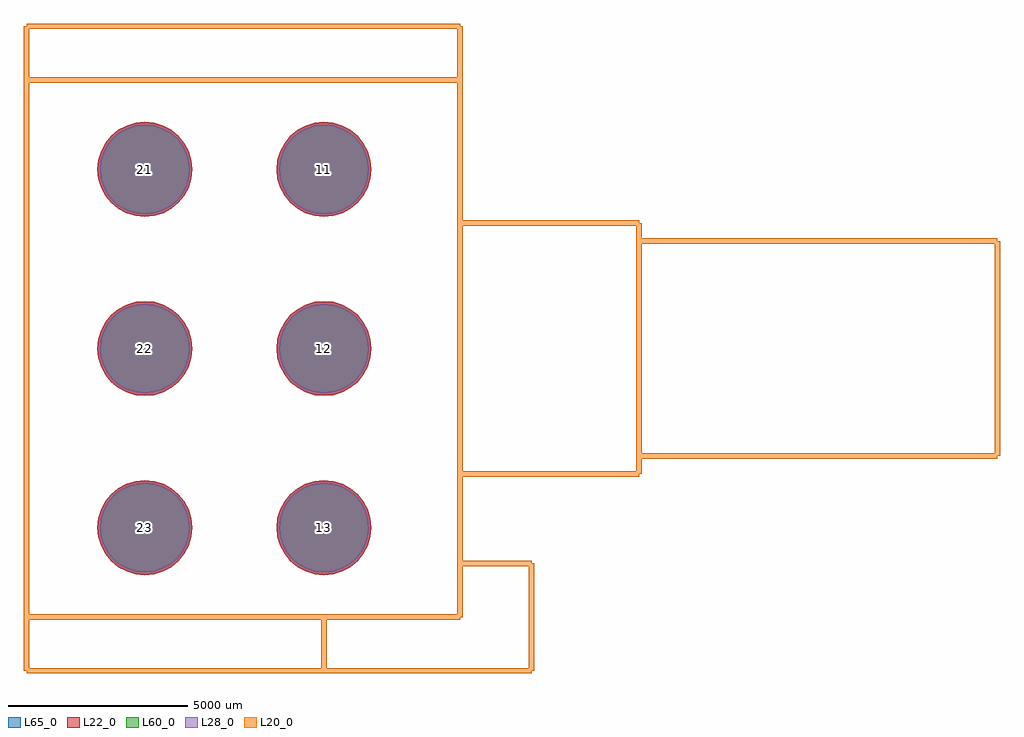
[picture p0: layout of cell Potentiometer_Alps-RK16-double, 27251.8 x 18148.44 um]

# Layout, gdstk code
import gdstk
lib = gdstk.Library(unit=1e-6, precision=1e-09)
def P(c, l, *ps):  # polygons
    for p in ps: c.add(gdstk.Polygon(p, *l))
L20_0 = (20, 0)
L22_0 = (22, 0)
L28_0 = (28, 0)
L60_0 = (60, 0)
L65_0 = (65, 0)

potentiometer_alps_rk16_ = lib.new_cell('Potentiometer_Alps-RK16-double')
P(potentiometer_alps_rk16_, L22_0, [(1324.68,0),(1299.227,258.432),(1223.845,506.933),(1101.431,735.953),(936.69,936.69),(735.953,1101.431),(506.933,1223.845),(258.432,1299.227),(0,1324.68),(-258.432,1299.227),(-506.933,1223.845),(-735.953,1101.431),(-936.69,936.69),(-1101.431,735.953),(-1223.845,506.933),(-1299.227,258.432),(-1324.68,0),(-1299.227,-258.432),(-1223.845,-506.933),(-1101.431,-735.953),(-936.69,-936.69),(-735.953,-1101.431),(-506.933,-1223.845),(-258.432,-1299.227),(0,-1324.68),(258.432,-1299.227),(506.933,-1223.845),(735.953,-1101.431),(936.69,-936.69),(1101.431,-735.953),(1223.845,-506.933),(1299.227,-258.432)],
  [(1324.68,-10002.52),(1299.227,-9744.088),(1223.845,-9495.587),(1101.431,-9266.567),(936.69,-9065.83),(735.953,-8901.089),(506.933,-8778.675),(258.432,-8703.293),(0,-8677.84),(-258.432,-8703.293),(-506.933,-8778.675),(-735.953,-8901.089),(-936.69,-9065.83),(-1101.431,-9266.567),(-1223.845,-9495.587),(-1299.227,-9744.088),(-1324.68,-10002.52),(-1299.227,-10260.952),(-1223.845,-10509.453),(-1101.431,-10738.473),(-936.69,-10939.21),(-735.953,-11103.951),(-506.933,-11226.365),(-258.432,-11301.747),(0,-11327.2),(258.432,-11301.747),(506.933,-11226.365),(735.953,-11103.951),(936.69,-10939.21),(1101.431,-10738.473),(1223.845,-10509.453),(1299.227,-10260.952)],
  [(1324.68,-5001.26),(1299.227,-4742.828),(1223.845,-4494.327),(1101.431,-4265.307),(936.69,-4064.57),(735.953,-3899.829),(506.933,-3777.415),(258.432,-3702.033),(0,-3676.58),(-258.432,-3702.033),(-506.933,-3777.415),(-735.953,-3899.829),(-936.69,-4064.57),(-1101.431,-4265.307),(-1223.845,-4494.327),(-1299.227,-4742.828),(-1324.68,-5001.26),(-1299.227,-5259.692),(-1223.845,-5508.193),(-1101.431,-5737.213),(-936.69,-5937.95),(-735.953,-6102.691),(-506.933,-6225.105),(-258.432,-6300.487),(0,-6325.94),(258.432,-6300.487),(506.933,-6225.105),(735.953,-6102.691),(936.69,-5937.95),(1101.431,-5737.213),(1223.845,-5508.193),(1299.227,-5259.692)],
  [(-3676.58,0),(-3702.033,258.432),(-3777.415,506.933),(-3899.829,735.953),(-4064.57,936.69),(-4265.307,1101.431),(-4494.327,1223.845),(-4742.828,1299.227),(-5001.26,1324.68),(-5259.692,1299.227),(-5508.193,1223.845),(-5737.213,1101.431),(-5937.95,936.69),(-6102.691,735.953),(-6225.105,506.933),(-6300.487,258.432),(-6325.94,0),(-6300.487,-258.432),(-6225.105,-506.933),(-6102.691,-735.953),(-5937.95,-936.69),(-5737.213,-1101.431),(-5508.193,-1223.845),(-5259.692,-1299.227),(-5001.26,-1324.68),(-4742.828,-1299.227),(-4494.327,-1223.845),(-4265.307,-1101.431),(-4064.57,-936.69),(-3899.829,-735.953),(-3777.415,-506.933),(-3702.033,-258.432)],
  [(-3676.58,-5001.26),(-3702.033,-4742.828),(-3777.415,-4494.327),(-3899.829,-4265.307),(-4064.57,-4064.57),(-4265.307,-3899.829),(-4494.327,-3777.415),(-4742.828,-3702.033),(-5001.26,-3676.58),(-5259.692,-3702.033),(-5508.193,-3777.415),(-5737.213,-3899.829),(-5937.95,-4064.57),(-6102.691,-4265.307),(-6225.105,-4494.327),(-6300.487,-4742.828),(-6325.94,-5001.26),(-6300.487,-5259.692),(-6225.105,-5508.193),(-6102.691,-5737.213),(-5937.95,-5937.95),(-5737.213,-6102.691),(-5508.193,-6225.105),(-5259.692,-6300.487),(-5001.26,-6325.94),(-4742.828,-6300.487),(-4494.327,-6225.105),(-4265.307,-6102.691),(-4064.57,-5937.95),(-3899.829,-5737.213),(-3777.415,-5508.193),(-3702.033,-5259.692)],
  [(-3676.58,-10002.52),(-3702.033,-9744.088),(-3777.415,-9495.587),(-3899.829,-9266.567),(-4064.57,-9065.83),(-4265.307,-8901.089),(-4494.327,-8778.675),(-4742.828,-8703.293),(-5001.26,-8677.84),(-5259.692,-8703.293),(-5508.193,-8778.675),(-5737.213,-8901.089),(-5937.95,-9065.83),(-6102.691,-9266.567),(-6225.105,-9495.587),(-6300.487,-9744.088),(-6325.94,-10002.52),(-6300.487,-10260.952),(-6225.105,-10509.453),(-6102.691,-10738.473),(-5937.95,-10939.21),(-5737.213,-11103.951),(-5508.193,-11226.365),(-5259.692,-11301.747),(-5001.26,-11327.2),(-4742.828,-11301.747),(-4494.327,-11226.365),(-4265.307,-11103.951),(-4064.57,-10939.21),(-3899.829,-10738.473),(-3777.415,-10509.453),(-3702.033,-10260.952)])
P(potentiometer_alps_rk16_, L28_0, [(1249.68,0),(1225.668,243.8),(1154.554,478.232),(1039.071,694.285),(883.657,883.657),(694.285,1039.071),(478.232,1154.554),(243.8,1225.668),(0,1249.68),(-243.8,1225.668),(-478.232,1154.554),(-694.285,1039.071),(-883.657,883.657),(-1039.071,694.285),(-1154.554,478.232),(-1225.668,243.8),(-1249.68,0),(-1225.668,-243.8),(-1154.554,-478.232),(-1039.071,-694.285),(-883.657,-883.657),(-694.285,-1039.071),(-478.232,-1154.554),(-243.8,-1225.668),(0,-1249.68),(243.8,-1225.668),(478.232,-1154.554),(694.285,-1039.071),(883.657,-883.657),(1039.071,-694.285),(1154.554,-478.232),(1225.668,-243.8)],
  [(1249.68,-10002.52),(1225.668,-9758.72),(1154.554,-9524.288),(1039.071,-9308.235),(883.657,-9118.863),(694.285,-8963.449),(478.232,-8847.966),(243.8,-8776.852),(0,-8752.84),(-243.8,-8776.852),(-478.232,-8847.966),(-694.285,-8963.449),(-883.657,-9118.863),(-1039.071,-9308.235),(-1154.554,-9524.288),(-1225.668,-9758.72),(-1249.68,-10002.52),(-1225.668,-10246.32),(-1154.554,-10480.752),(-1039.071,-10696.805),(-883.657,-10886.177),(-694.285,-11041.591),(-478.232,-11157.074),(-243.8,-11228.188),(0,-11252.2),(243.8,-11228.188),(478.232,-11157.074),(694.285,-11041.591),(883.657,-10886.177),(1039.071,-10696.805),(1154.554,-10480.752),(1225.668,-10246.32)],
  [(1249.68,-5001.26),(1225.668,-4757.46),(1154.554,-4523.028),(1039.071,-4306.975),(883.657,-4117.603),(694.285,-3962.189),(478.232,-3846.706),(243.8,-3775.592),(0,-3751.58),(-243.8,-3775.592),(-478.232,-3846.706),(-694.285,-3962.189),(-883.657,-4117.603),(-1039.071,-4306.975),(-1154.554,-4523.028),(-1225.668,-4757.46),(-1249.68,-5001.26),(-1225.668,-5245.06),(-1154.554,-5479.492),(-1039.071,-5695.545),(-883.657,-5884.917),(-694.285,-6040.331),(-478.232,-6155.814),(-243.8,-6226.928),(0,-6250.94),(243.8,-6226.928),(478.232,-6155.814),(694.285,-6040.331),(883.657,-5884.917),(1039.071,-5695.545),(1154.554,-5479.492),(1225.668,-5245.06)],
  [(-3751.58,0),(-3775.592,243.8),(-3846.706,478.232),(-3962.189,694.285),(-4117.603,883.657),(-4306.975,1039.071),(-4523.028,1154.554),(-4757.46,1225.668),(-5001.26,1249.68),(-5245.06,1225.668),(-5479.492,1154.554),(-5695.545,1039.071),(-5884.917,883.657),(-6040.331,694.285),(-6155.814,478.232),(-6226.928,243.8),(-6250.94,0),(-6226.928,-243.8),(-6155.814,-478.232),(-6040.331,-694.285),(-5884.917,-883.657),(-5695.545,-1039.071),(-5479.492,-1154.554),(-5245.06,-1225.668),(-5001.26,-1249.68),(-4757.46,-1225.668),(-4523.028,-1154.554),(-4306.975,-1039.071),(-4117.603,-883.657),(-3962.189,-694.285),(-3846.706,-478.232),(-3775.592,-243.8)],
  [(-3751.58,-5001.26),(-3775.592,-4757.46),(-3846.706,-4523.028),(-3962.189,-4306.975),(-4117.603,-4117.603),(-4306.975,-3962.189),(-4523.028,-3846.706),(-4757.46,-3775.592),(-5001.26,-3751.58),(-5245.06,-3775.592),(-5479.492,-3846.706),(-5695.545,-3962.189),(-5884.917,-4117.603),(-6040.331,-4306.975),(-6155.814,-4523.028),(-6226.928,-4757.46),(-6250.94,-5001.26),(-6226.928,-5245.06),(-6155.814,-5479.492),(-6040.331,-5695.545),(-5884.917,-5884.917),(-5695.545,-6040.331),(-5479.492,-6155.814),(-5245.06,-6226.928),(-5001.26,-6250.94),(-4757.46,-6226.928),(-4523.028,-6155.814),(-4306.975,-6040.331),(-4117.603,-5884.917),(-3962.189,-5695.545),(-3846.706,-5479.492),(-3775.592,-5245.06)],
  [(-3751.58,-10002.52),(-3775.592,-9758.72),(-3846.706,-9524.288),(-3962.189,-9308.235),(-4117.603,-9118.863),(-4306.975,-8963.449),(-4523.028,-8847.966),(-4757.46,-8776.852),(-5001.26,-8752.84),(-5245.06,-8776.852),(-5479.492,-8847.966),(-5695.545,-8963.449),(-5884.917,-9118.863),(-6040.331,-9308.235),(-6155.814,-9524.288),(-6226.928,-9758.72),(-6250.94,-10002.52),(-6226.928,-10246.32),(-6155.814,-10480.752),(-6040.331,-10696.805),(-5884.917,-10886.177),(-5695.545,-11041.591),(-5479.492,-11157.074),(-5245.06,-11228.188),(-5001.26,-11252.2),(-4757.46,-11228.188),(-4523.028,-11157.074),(-4306.975,-11041.591),(-4117.603,-10886.177),(-3962.189,-10696.805),(-3846.706,-10480.752),(-3775.592,-10246.32)])
P(potentiometer_alps_rk16_, L60_0, [(1249.68,0),(1225.668,243.8),(1154.554,478.232),(1039.071,694.285),(883.657,883.657),(694.285,1039.071),(478.232,1154.554),(243.8,1225.668),(0,1249.68),(-243.8,1225.668),(-478.232,1154.554),(-694.285,1039.071),(-883.657,883.657),(-1039.071,694.285),(-1154.554,478.232),(-1225.668,243.8),(-1249.68,0),(-1225.668,-243.8),(-1154.554,-478.232),(-1039.071,-694.285),(-883.657,-883.657),(-694.285,-1039.071),(-478.232,-1154.554),(-243.8,-1225.668),(0,-1249.68),(243.8,-1225.668),(478.232,-1154.554),(694.285,-1039.071),(883.657,-883.657),(1039.071,-694.285),(1154.554,-478.232),(1225.668,-243.8)],
  [(1249.68,-10002.52),(1225.668,-9758.72),(1154.554,-9524.288),(1039.071,-9308.235),(883.657,-9118.863),(694.285,-8963.449),(478.232,-8847.966),(243.8,-8776.852),(0,-8752.84),(-243.8,-8776.852),(-478.232,-8847.966),(-694.285,-8963.449),(-883.657,-9118.863),(-1039.071,-9308.235),(-1154.554,-9524.288),(-1225.668,-9758.72),(-1249.68,-10002.52),(-1225.668,-10246.32),(-1154.554,-10480.752),(-1039.071,-10696.805),(-883.657,-10886.177),(-694.285,-11041.591),(-478.232,-11157.074),(-243.8,-11228.188),(0,-11252.2),(243.8,-11228.188),(478.232,-11157.074),(694.285,-11041.591),(883.657,-10886.177),(1039.071,-10696.805),(1154.554,-10480.752),(1225.668,-10246.32)],
  [(1249.68,-5001.26),(1225.668,-4757.46),(1154.554,-4523.028),(1039.071,-4306.975),(883.657,-4117.603),(694.285,-3962.189),(478.232,-3846.706),(243.8,-3775.592),(0,-3751.58),(-243.8,-3775.592),(-478.232,-3846.706),(-694.285,-3962.189),(-883.657,-4117.603),(-1039.071,-4306.975),(-1154.554,-4523.028),(-1225.668,-4757.46),(-1249.68,-5001.26),(-1225.668,-5245.06),(-1154.554,-5479.492),(-1039.071,-5695.545),(-883.657,-5884.917),(-694.285,-6040.331),(-478.232,-6155.814),(-243.8,-6226.928),(0,-6250.94),(243.8,-6226.928),(478.232,-6155.814),(694.285,-6040.331),(883.657,-5884.917),(1039.071,-5695.545),(1154.554,-5479.492),(1225.668,-5245.06)],
  [(-3751.58,0),(-3775.592,243.8),(-3846.706,478.232),(-3962.189,694.285),(-4117.603,883.657),(-4306.975,1039.071),(-4523.028,1154.554),(-4757.46,1225.668),(-5001.26,1249.68),(-5245.06,1225.668),(-5479.492,1154.554),(-5695.545,1039.071),(-5884.917,883.657),(-6040.331,694.285),(-6155.814,478.232),(-6226.928,243.8),(-6250.94,0),(-6226.928,-243.8),(-6155.814,-478.232),(-6040.331,-694.285),(-5884.917,-883.657),(-5695.545,-1039.071),(-5479.492,-1154.554),(-5245.06,-1225.668),(-5001.26,-1249.68),(-4757.46,-1225.668),(-4523.028,-1154.554),(-4306.975,-1039.071),(-4117.603,-883.657),(-3962.189,-694.285),(-3846.706,-478.232),(-3775.592,-243.8)],
  [(-3751.58,-5001.26),(-3775.592,-4757.46),(-3846.706,-4523.028),(-3962.189,-4306.975),(-4117.603,-4117.603),(-4306.975,-3962.189),(-4523.028,-3846.706),(-4757.46,-3775.592),(-5001.26,-3751.58),(-5245.06,-3775.592),(-5479.492,-3846.706),(-5695.545,-3962.189),(-5884.917,-4117.603),(-6040.331,-4306.975),(-6155.814,-4523.028),(-6226.928,-4757.46),(-6250.94,-5001.26),(-6226.928,-5245.06),(-6155.814,-5479.492),(-6040.331,-5695.545),(-5884.917,-5884.917),(-5695.545,-6040.331),(-5479.492,-6155.814),(-5245.06,-6226.928),(-5001.26,-6250.94),(-4757.46,-6226.928),(-4523.028,-6155.814),(-4306.975,-6040.331),(-4117.603,-5884.917),(-3962.189,-5695.545),(-3846.706,-5479.492),(-3775.592,-5245.06)],
  [(-3751.58,-10002.52),(-3775.592,-9758.72),(-3846.706,-9524.288),(-3962.189,-9308.235),(-4117.603,-9118.863),(-4306.975,-8963.449),(-4523.028,-8847.966),(-4757.46,-8776.852),(-5001.26,-8752.84),(-5245.06,-8776.852),(-5479.492,-8847.966),(-5695.545,-8963.449),(-5884.917,-9118.863),(-6040.331,-9308.235),(-6155.814,-9524.288),(-6226.928,-9758.72),(-6250.94,-10002.52),(-6226.928,-10246.32),(-6155.814,-10480.752),(-6040.331,-10696.805),(-5884.917,-10886.177),(-5695.545,-11041.591),(-5479.492,-11157.074),(-5245.06,-11228.188),(-5001.26,-11252.2),(-4757.46,-11228.188),(-4523.028,-11157.074),(-4306.975,-11041.591),(-4117.603,-10886.177),(-3962.189,-10696.805),(-3846.706,-10480.752),(-3775.592,-10246.32)])
P(potentiometer_alps_rk16_, L65_0, [(1324.68,0),(1299.227,258.432),(1223.845,506.933),(1101.431,735.953),(936.69,936.69),(735.953,1101.431),(506.933,1223.845),(258.432,1299.227),(0,1324.68),(-258.432,1299.227),(-506.933,1223.845),(-735.953,1101.431),(-936.69,936.69),(-1101.431,735.953),(-1223.845,506.933),(-1299.227,258.432),(-1324.68,0),(-1299.227,-258.432),(-1223.845,-506.933),(-1101.431,-735.953),(-936.69,-936.69),(-735.953,-1101.431),(-506.933,-1223.845),(-258.432,-1299.227),(0,-1324.68),(258.432,-1299.227),(506.933,-1223.845),(735.953,-1101.431),(936.69,-936.69),(1101.431,-735.953),(1223.845,-506.933),(1299.227,-258.432)],
  [(1324.68,-10002.52),(1299.227,-9744.088),(1223.845,-9495.587),(1101.431,-9266.567),(936.69,-9065.83),(735.953,-8901.089),(506.933,-8778.675),(258.432,-8703.293),(0,-8677.84),(-258.432,-8703.293),(-506.933,-8778.675),(-735.953,-8901.089),(-936.69,-9065.83),(-1101.431,-9266.567),(-1223.845,-9495.587),(-1299.227,-9744.088),(-1324.68,-10002.52),(-1299.227,-10260.952),(-1223.845,-10509.453),(-1101.431,-10738.473),(-936.69,-10939.21),(-735.953,-11103.951),(-506.933,-11226.365),(-258.432,-11301.747),(0,-11327.2),(258.432,-11301.747),(506.933,-11226.365),(735.953,-11103.951),(936.69,-10939.21),(1101.431,-10738.473),(1223.845,-10509.453),(1299.227,-10260.952)],
  [(1324.68,-5001.26),(1299.227,-4742.828),(1223.845,-4494.327),(1101.431,-4265.307),(936.69,-4064.57),(735.953,-3899.829),(506.933,-3777.415),(258.432,-3702.033),(0,-3676.58),(-258.432,-3702.033),(-506.933,-3777.415),(-735.953,-3899.829),(-936.69,-4064.57),(-1101.431,-4265.307),(-1223.845,-4494.327),(-1299.227,-4742.828),(-1324.68,-5001.26),(-1299.227,-5259.692),(-1223.845,-5508.193),(-1101.431,-5737.213),(-936.69,-5937.95),(-735.953,-6102.691),(-506.933,-6225.105),(-258.432,-6300.487),(0,-6325.94),(258.432,-6300.487),(506.933,-6225.105),(735.953,-6102.691),(936.69,-5937.95),(1101.431,-5737.213),(1223.845,-5508.193),(1299.227,-5259.692)],
  [(-3676.58,0),(-3702.033,258.432),(-3777.415,506.933),(-3899.829,735.953),(-4064.57,936.69),(-4265.307,1101.431),(-4494.327,1223.845),(-4742.828,1299.227),(-5001.26,1324.68),(-5259.692,1299.227),(-5508.193,1223.845),(-5737.213,1101.431),(-5937.95,936.69),(-6102.691,735.953),(-6225.105,506.933),(-6300.487,258.432),(-6325.94,0),(-6300.487,-258.432),(-6225.105,-506.933),(-6102.691,-735.953),(-5937.95,-936.69),(-5737.213,-1101.431),(-5508.193,-1223.845),(-5259.692,-1299.227),(-5001.26,-1324.68),(-4742.828,-1299.227),(-4494.327,-1223.845),(-4265.307,-1101.431),(-4064.57,-936.69),(-3899.829,-735.953),(-3777.415,-506.933),(-3702.033,-258.432)],
  [(-3676.58,-5001.26),(-3702.033,-4742.828),(-3777.415,-4494.327),(-3899.829,-4265.307),(-4064.57,-4064.57),(-4265.307,-3899.829),(-4494.327,-3777.415),(-4742.828,-3702.033),(-5001.26,-3676.58),(-5259.692,-3702.033),(-5508.193,-3777.415),(-5737.213,-3899.829),(-5937.95,-4064.57),(-6102.691,-4265.307),(-6225.105,-4494.327),(-6300.487,-4742.828),(-6325.94,-5001.26),(-6300.487,-5259.692),(-6225.105,-5508.193),(-6102.691,-5737.213),(-5937.95,-5937.95),(-5737.213,-6102.691),(-5508.193,-6225.105),(-5259.692,-6300.487),(-5001.26,-6325.94),(-4742.828,-6300.487),(-4494.327,-6225.105),(-4265.307,-6102.691),(-4064.57,-5937.95),(-3899.829,-5737.213),(-3777.415,-5508.193),(-3702.033,-5259.692)],
  [(-3676.58,-10002.52),(-3702.033,-9744.088),(-3777.415,-9495.587),(-3899.829,-9266.567),(-4064.57,-9065.83),(-4265.307,-8901.089),(-4494.327,-8778.675),(-4742.828,-8703.293),(-5001.26,-8677.84),(-5259.692,-8703.293),(-5508.193,-8778.675),(-5737.213,-8901.089),(-5937.95,-9065.83),(-6102.691,-9266.567),(-6225.105,-9495.587),(-6300.487,-9744.088),(-6325.94,-10002.52),(-6300.487,-10260.952),(-6225.105,-10509.453),(-6102.691,-10738.473),(-5937.95,-10939.21),(-5737.213,-11103.951),(-5508.193,-11226.365),(-5259.692,-11301.747),(-5001.26,-11327.2),(-4742.828,-11301.747),(-4494.327,-11226.365),(-4265.307,-11103.951),(-4064.57,-10939.21),(-3899.829,-10738.473),(-3777.415,-10509.453),(-3702.033,-10260.952)])
potentiometer_alps_rk16_.add(gdstk.FlexPath([(3799.84,-12501.88),(3799.84,2499.36)], 149.998, ends="flush", simple_path=True, layer=20, datatype=0))  # L20_0
potentiometer_alps_rk16_.add(gdstk.FlexPath([(-6700.52,-12501.88),(3799.84,-12501.88)], 149.998, ends="flush", simple_path=True, layer=20, datatype=0))  # L20_0
potentiometer_alps_rk16_.add(gdstk.FlexPath([(3799.84,2499.36),(-6700.52,2499.36)], 149.998, ends="flush", simple_path=True, layer=20, datatype=0))  # L20_0
potentiometer_alps_rk16_.add(gdstk.FlexPath([(8801.1,-8501.38),(3799.84,-8501.38)], 149.998, ends="flush", simple_path=True, layer=20, datatype=0))  # L20_0
potentiometer_alps_rk16_.add(gdstk.FlexPath([(8801.1,-1501.14),(8801.1,-8501.38)], 149.998, ends="flush", simple_path=True, layer=20, datatype=0))  # L20_0
potentiometer_alps_rk16_.add(gdstk.FlexPath([(3799.84,-1501.14),(8801.1,-1501.14)], 149.998, ends="flush", simple_path=True, layer=20, datatype=0))  # L20_0
potentiometer_alps_rk16_.add(gdstk.FlexPath([(18801.08,-8001),(8801.1,-8001)], 149.998, ends="flush", simple_path=True, layer=20, datatype=0))  # L20_0
potentiometer_alps_rk16_.add(gdstk.FlexPath([(18801.08,-2001.52),(18801.08,-8001)], 149.998, ends="flush", simple_path=True, layer=20, datatype=0))  # L20_0
potentiometer_alps_rk16_.add(gdstk.FlexPath([(8801.1,-2001.52),(18801.08,-2001.52)], 149.998, ends="flush", simple_path=True, layer=20, datatype=0))  # L20_0
potentiometer_alps_rk16_.add(gdstk.FlexPath([(0,-14000.48),(0,-12501.88)], 149.998, ends="flush", simple_path=True, layer=20, datatype=0))  # L20_0
potentiometer_alps_rk16_.add(gdstk.FlexPath([(5798.82,-14000.48),(0,-14000.48)], 149.998, ends="flush", simple_path=True, layer=20, datatype=0))  # L20_0
potentiometer_alps_rk16_.add(gdstk.FlexPath([(5798.82,-11000.74),(5798.82,-14000.48)], 149.998, ends="flush", simple_path=True, layer=20, datatype=0))  # L20_0
potentiometer_alps_rk16_.add(gdstk.FlexPath([(3799.84,-11000.74),(5798.82,-11000.74)], 149.998, ends="flush", simple_path=True, layer=20, datatype=0))  # L20_0
potentiometer_alps_rk16_.add(gdstk.FlexPath([(3799.84,3997.96),(-6700.52,3997.96)], 149.998, ends="flush", simple_path=True, layer=20, datatype=0))  # L20_0
potentiometer_alps_rk16_.add(gdstk.FlexPath([(3799.84,2499.36),(3799.84,3997.96)], 149.998, ends="flush", simple_path=True, layer=20, datatype=0))  # L20_0
potentiometer_alps_rk16_.add(gdstk.FlexPath([(0,-14000.48),(-6700.52,-14000.48)], 149.998, ends="flush", simple_path=True, layer=20, datatype=0))  # L20_0
potentiometer_alps_rk16_.add(gdstk.FlexPath([(-8300.72,-12501.88),(-6700.52,-12501.88)], 149.998, ends="flush", simple_path=True, layer=20, datatype=0))  # L20_0
potentiometer_alps_rk16_.add(gdstk.FlexPath([(-8300.72,2499.36),(-8300.72,-12501.88)], 149.998, ends="flush", simple_path=True, layer=20, datatype=0))  # L20_0
potentiometer_alps_rk16_.add(gdstk.FlexPath([(-6700.52,2499.36),(-8300.72,2499.36)], 149.998, ends="flush", simple_path=True, layer=20, datatype=0))  # L20_0
potentiometer_alps_rk16_.add(gdstk.FlexPath([(-8300.72,-14000.48),(-8300.72,-12501.88)], 149.998, ends="flush", simple_path=True, layer=20, datatype=0))  # L20_0
potentiometer_alps_rk16_.add(gdstk.FlexPath([(-6700.52,-14000.48),(-8300.72,-14000.48)], 149.998, ends="flush", simple_path=True, layer=20, datatype=0))  # L20_0
potentiometer_alps_rk16_.add(gdstk.FlexPath([(-8300.72,3997.96),(-8300.72,2499.36)], 149.998, ends="flush", simple_path=True, layer=20, datatype=0))  # L20_0
potentiometer_alps_rk16_.add(gdstk.FlexPath([(-6700.52,3997.96),(-8300.72,3997.96)], 149.998, ends="flush", simple_path=True, layer=20, datatype=0))  # L20_0
potentiometer_alps_rk16_.add(gdstk.Label('11', (0,0), layer=28, texttype=0))
potentiometer_alps_rk16_.add(gdstk.Label('13', (0,-10002.52), layer=28, texttype=0))
potentiometer_alps_rk16_.add(gdstk.Label('12', (0,-5001.26), layer=28, texttype=0))
potentiometer_alps_rk16_.add(gdstk.Label('21', (-5001.26,0), layer=28, texttype=0))
potentiometer_alps_rk16_.add(gdstk.Label('22', (-5001.26,-5001.26), layer=28, texttype=0))
potentiometer_alps_rk16_.add(gdstk.Label('23', (-5001.26,-10002.52), layer=28, texttype=0))
potentiometer_alps_rk16_.add(gdstk.Label('type', (0,-16431.26), layer=9, texttype=0))
potentiometer_alps_rk16_.add(gdstk.Label('devicename', (0,6428.74), layer=9, texttype=0))

lib.write_gds('Potentiometer_Alps-RK16-double.gds')
